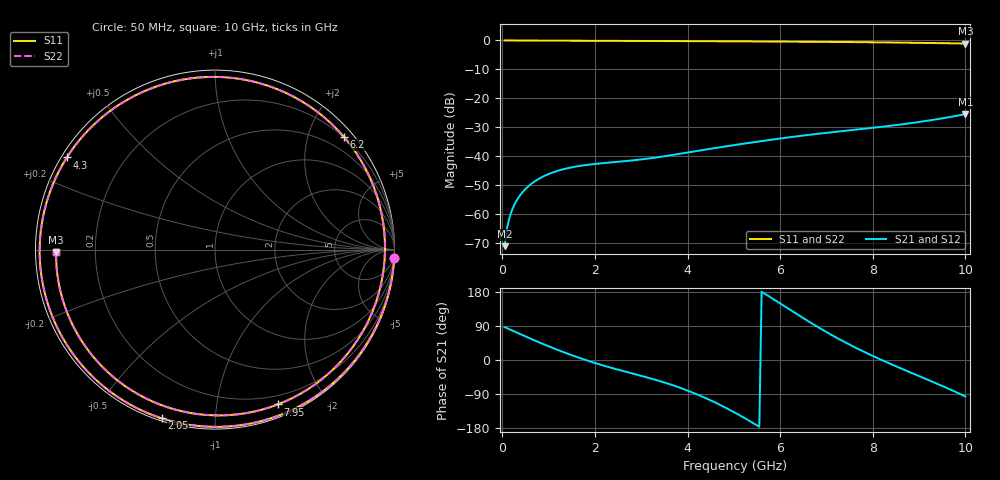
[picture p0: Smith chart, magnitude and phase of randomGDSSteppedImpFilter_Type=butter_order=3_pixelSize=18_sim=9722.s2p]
! freq	dB(S11)	phase(S11)	dB(S12)	phase(S12)
!  dB(S21)	phase(S21)	dB(S22)	phase(S22)
!S-par simulation data
#  GHz  S  DB  R 50
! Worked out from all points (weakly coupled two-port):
!   200 points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, 50 MHz to 10 GHz, reference 50 ohm
!   highest |S21| = -25.46 dB at 10 GHz (marker M1); lowest = -71.0 dB at 50 MHz (marker M2)
!   lowest |S11| = -1.1 dB at 10 GHz (marker M3), VSWR 16.49, Z = 3.03 - j0.377 ohm
!   |S11| at or under -10 dB: nowhere
!   |S22| runs from -1.1 to 0.0 dB; largest |S21 - S12| = 0
!   S11 on the Smith chart (normalised r, x): 50 MHz: 0, -41; 2.05 GHz: 0.01, -0.73; 4.3 GHz: 0.02, +0.29; 6.2 GHz: 0.19, +2.65; 7.95 GHz: 0.11, -1.48; 10 GHz: 0.06, -0.01
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0.05  -0.00 -2.8  -71.04 86.8  -71.04 86.8  -0.00 -2.8
0.1  -0.01 -5.6  -65.00 84.1  -65.00 84.1  -0.01 -5.6
0.2  -0.01 -11.2  -59.00 78.7  -59.00 78.7  -0.01 -11.2
0.5  -0.04 -27.8  -51.30 62.3  -51.30 62.3  -0.04 -27.8
1.15  -0.08 -62.7  -45.25 28.8  -45.25 28.8  -0.08 -62.7
1.75  -0.11 -93.0  -43.14 2.0  -43.14 2.0  -0.11 -93.0
2.05  -0.13 -107.5  -42.56 -9.7  -42.56 -9.7  -0.13 -107.6
2.75  -0.16 -140.1  -41.52 -33.7  -41.52 -33.7  -0.16 -140.1
3.4  -0.19 -169.6  -40.23 -55.6  -40.23 -55.6  -0.19 -169.6
3.85  -0.22 169.7  -39.09 -73.8  -39.09 -73.8  -0.22 169.6
4.3  -0.25 148.1  -37.91 -95.7  -37.91 -95.7  -0.25 148.1
5.05  -0.30 109.3  -36.03 -140.7  -36.03 -140.7  -0.30 109.3
5.65  -0.36 75.0  -34.63 176.2  -34.63 176.2  -0.36 75.0
6.2  -0.41 41.1  -33.43 133.6  -33.43 133.6  -0.41 41.1
6.7  -0.46 9.2  -32.45 95.4  -32.45 95.4  -0.46 9.2
7.25  -0.52 -25.7  -31.47 56.6  -31.47 56.6  -0.52 -25.7
7.6  -0.57 -47.2  -30.87 34.3  -30.87 34.3  -0.57 -47.2
7.95  -0.62 -67.9  -30.26 13.5  -30.26 13.5  -0.62 -67.8
8.35  -0.69 -90.5  -29.53 -8.6  -29.53 -8.6  -0.69 -90.5
8.8  -0.78 -114.9  -28.61 -32.2  -28.61 -32.2  -0.78 -114.9
9.25  -0.88 -138.8  -27.56 -55.3  -27.56 -55.3  -0.88 -138.8
10  -1.05 -179.1  -25.46 -96.3  -25.46 -96.3  -1.06 -179.2
